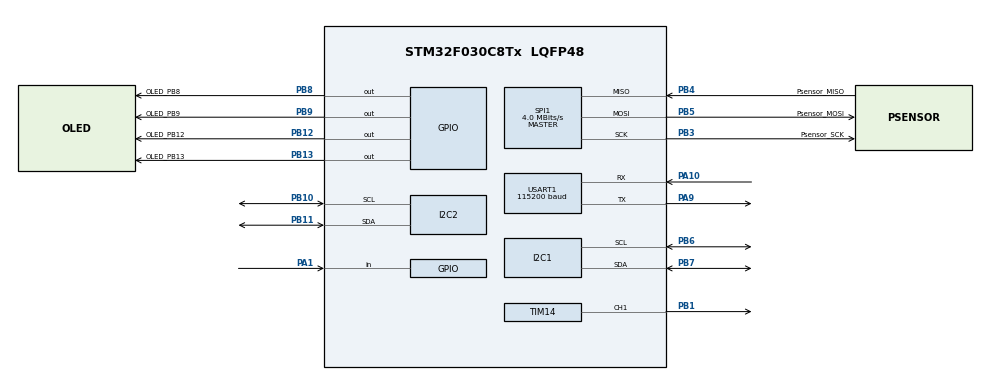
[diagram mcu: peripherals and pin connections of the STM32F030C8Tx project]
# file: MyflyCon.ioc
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Mcu.Family=STM32F0
Mcu.Name=STM32F030C8Tx
Mcu.Package=LQFP48
NVIC.I2C2_IRQn=true\:0\:0\:false\:false\:true\:true\:true
NVIC.SPI1_IRQn=true\:0\:0\:false\:false\:true\:true\:true
PA1.Signal=GPIO_Input
PA10.Mode=Asynchronous
PA10.Signal=USART1_RX
PA15.Signal=SPI1_NSS
PA9.Mode=Asynchronous
PA9.Signal=USART1_TX
PB1.GPIO_PuPd=GPIO_PULLUP
PB1.Signal=S_TIM14_CH1
PB10.Mode=I2C
PB10.Signal=I2C2_SCL
PB11.Mode=I2C
PB11.Signal=I2C2_SDA
PB12.GPIO_Label=OLED_PB12
PB12.Signal=GPIO_Output
PB13.GPIO_Label=OLED_PB13
PB13.Signal=GPIO_Output
PB3.GPIO_Label=Psensor_SCK
PB3.Mode=Full_Duplex_Master
PB3.Signal=SPI1_SCK
PB4.GPIO_Label=Psensor_MISO
PB4.Mode=Full_Duplex_Master
PB4.Signal=SPI1_MISO
PB5.GPIO_Label=Psensor_MOSI
PB5.Mode=Full_Duplex_Master
PB5.Signal=SPI1_MOSI
PB6.Mode=I2C
PB6.Signal=I2C1_SCL
PB7.Mode=I2C
PB7.Signal=I2C1_SDA
PB8.GPIO_Label=OLED_PB8
PB8.Signal=GPIO_Output
PB9.GPIO_Label=OLED_PB9
PB9.Signal=GPIO_Output
ProjectManager.HeapSize=0x200
ProjectManager.StackSize=0x400
ProjectManager.TargetToolchain=MDK-ARM V5.27
RCC.AHBFreq_Value=8000000
RCC.APB1Freq_Value=8000000
RCC.APB1TimFreq_Value=8000000
RCC.HCLKFreq_Value=8000000
SH.S_TIM14_CH1.0=TIM14_CH1,PWM Generation1 CH1
SPI1.CalculateBaudRate=4.0 MBits/s
SPI1.Direction=SPI_DIRECTION_2LINES
SPI1.Mode=SPI_MODE_MASTER
SPI1.VirtualType=VM_MASTER
TIM14.Channel=TIM_CHANNEL_1
TIM14.OCMode_PWM=TIM_OCMODE_PWM2
TIM14.Period=5000
TIM14.Prescaler=8
USART1.BaudRate=115200
USART1.VirtualMode-Asynchronous=VM_ASYNC
VP_TIM14_VS_ClockSourceINT.Mode=Enable_Timer
board=custom

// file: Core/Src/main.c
/* USER CODE BEGIN Header */
/**
 ******************************************************************************
 * @file           : main.c
 * @brief          : Main program body
 ******************************************************************************
 * @attention
 *
 * <h2><center>&copy; Copyright (c) 2023 STMicroelectronics.
 * All rights reserved.</center></h2>
 *
 * This software component is licensed by ST under BSD 3-Clause license,
 * the "License"; You may not use this file except in compliance with the
 * License. You may obtain a copy of the License at:
 *                        opensource.org/licenses/BSD-3-Clause
 *
 ******************************************************************************
 */
/* USER CODE END Header */
#include "main.h"
#include "i2c.h"
#include "spi.h"
#include "tim.h"
#include "usart.h"
#include "gpio.h"

/* USER CODE BEGIN Includes */
#include "stdio.h"
#include "stdint.h"
#include "led.h"
#include "oled.h"
#include "mpu6050.h"
#include "my_delay.h"
#include "inv_mpu.h"
#include "inv_mpu_dmp_motion_driver.h"
#include "imu_view.h"
#include "motor.h"
#include "control.h"
#include "mpu6050.h"
#include "bmp280.h"
/* USER CODE END Includes */

void SystemClock_Config(void);

/* USER CODE BEGIN 0 */
extern UART_HandleTypeDef huart1;
#ifdef __GNUC__
#define PUTCHAR_PROTOTYPE int __io_putchar(int ch)
#else
#define PUTCHAR_PROTOTYPE int fputc(int ch, FILE *f)
#endif

PUTCHAR_PROTOTYPE
{
    HAL_UART_Transmit(&huart1, (uint8_t *)&ch, 1, HAL_MAX_DELAY);
    return ch;
}
/* USER CODE END 0 */

int main(void)
{
    /* USER CODE BEGIN 1 */
    float pitch, roll, yaw;
    short aacx, aacy, aacz;
    short gyrox, gyroy, gyroz;
    // short temp;
    struct bmp280_config conf;
    struct bmp280_uncomp_data ucomp_data;
    int32_t temp32;
    uint32_t pres32, pres64;
    double temp;
    double pres;
    int8_t rslt;
    /* USER CODE END 1 */

    /* MCU Configuration--------------------------------------------------------*/

    /* Reset of all peripherals, Initializes the Flash interface and the Systick. */
    HAL_Init();

    /* Configure the system clock */
    SystemClock_Config();

    /* Initialize all configured peripherals */
    MX_GPIO_Init();
    MX_I2C2_Init();
    MX_SPI1_Init();
    MX_USART1_UART_Init();
    MX_TIM14_Init();
    MX_I2C1_Init();
    /* USER CODE BEGIN 2 */
    OLED_Init();
    OLED_Display_On();
    OLED_Clear();
    HAL_TIM_PWM_Start(&htim14, TIM_CHANNEL_1);
    __HAL_TIM_SET_COMPARE(&htim14, TIM_CHANNEL_1, 1950);
    while (MPU_Init())
    {
    }
    printf("%s\r\n", "MPU_Init");
    while (mpu_dmp_init())
    {
        delay_ms(200);
        printf("%s\r\n", "Mpu6050 Init Wrong!");
    }
    printf("%s\r\n", "Mpu6050 Init OK!");

    rslt = bmp280_init();
    printf("bmp280_init status %d\r\n", rslt);

    /* Always read the current settings before writing, especially when
     * all the configuration is not modified
     */
    rslt = bmp280_get_config(&conf);
    printf("bmp280_get_config status %d\r\n", rslt);

    /* configuring the temperature oversampling, filter coefficient and output data rate */
    /* Overwrite the desired settings */
    conf.filter = BMP280_FILTER_COEFF_2;

    /* Temperature oversampling set at 4x */
    conf.os_temp = BMP280_OS_4X;

    /* Pressure over sampling none (disabling pressure measurement) */
    conf.os_pres = BMP280_OS_NONE;

    /* Setting the output data rate as 1HZ(1000ms) */
    conf.odr = BMP280_ODR_1000_MS;
    rslt = bmp280_set_config(&conf);
    printf("bmp280_set_config status %d\r\n", rslt);

    /* Always set the power mode after setting the configuration */
    rslt = bmp280_set_power_mode(BMP280_NORMAL_MODE);
    printf("bmp280_set_power_mode status %d\r\n", rslt);
    /* USER CODE END 2 */

    /* Infinite loop */
    while (1)
    {

        /* USER CODE BEGIN 3 */
        // rslt = bmp280_get_uncomp_data(&ucomp_data);
        // rslt = bmp280_get_comp_temp_double(&temp, ucomp_data.uncomp_temp);
        // rslt = bmp280_get_comp_pres_double(&pres, ucomp_data.uncomp_press);
        // printf("T32: %f, P32 %lf, %d\r\n", temp, pres, rslt);
        if (mpu_dmp_get_data(&pitch, &roll, &yaw) == 0)
        {
            temp = MPU_Get_Temperature();
            float tempf = temp / 100;
            MPU_Get_Accelerometer(&aacx, &aacy, &aacz);
            MPU_Get_Gyroscope(&gyrox, &gyroy, &gyroz);
            //MapPitchToContorl(pitch);
            Controlling(pitch, roll);
            // OLED_ShowImu(pitch, roll, yaw);
            //  Test_Send_User1(aacx, aacy, aacz, gyrox, gyroy, gyroz, roll, pitch, yaw);
            Vofa_view(roll, pitch, yaw);
            // delay_ms(10);
        }
        delay_ms(10);
        // LedBlink();
    }
    /* USER CODE END 3 */
}

void SystemClock_Config(void)
{
    RCC_OscInitTypeDef RCC_OscInitStruct = {0};
    RCC_ClkInitTypeDef RCC_ClkInitStruct = {0};
    RCC_PeriphCLKInitTypeDef PeriphClkInit = {0};

    /** Initializes the RCC Oscillators according to the specified parameters
     * in the RCC_OscInitTypeDef structure.
     */
    RCC_OscInitStruct.OscillatorType = RCC_OSCILLATORTYPE_HSI;
    RCC_OscInitStruct.HSIState = RCC_HSI_ON;
    RCC_OscInitStruct.HSICalibrationValue = RCC_HSICALIBRATION_DEFAULT;
    RCC_OscInitStruct.PLL.PLLState = RCC_PLL_NONE;
    if (HAL_RCC_OscConfig(&RCC_OscInitStruct) != HAL_OK)
    {
        Error_Handler();
    }
    /** Initializes the CPU, AHB and APB buses clocks
     */
    RCC_ClkInitStruct.ClockType = RCC_CLOCKTYPE_HCLK | RCC_CLOCKTYPE_SYSCLK | RCC_CLOCKTYPE_PCLK1;
    RCC_ClkInitStruct.SYSCLKSource = RCC_SYSCLKSOURCE_HSI;
    RCC_ClkInitStruct.AHBCLKDivider = RCC_SYSCLK_DIV1;
    RCC_ClkInitStruct.APB1CLKDivider = RCC_HCLK_DIV1;

    if (HAL_RCC_ClockConfig(&RCC_ClkInitStruct, FLASH_LATENCY_0) != HAL_OK)
    {
        Error_Handler();
    }
    PeriphClkInit.PeriphClockSelection = RCC_PERIPHCLK_USART1 | RCC_PERIPHCLK_I2C1;
    PeriphClkInit.Usart1ClockSelection = RCC_USART1CLKSOURCE_PCLK1;
    PeriphClkInit.I2c1ClockSelection = RCC_I2C1CLKSOURCE_HSI;
    if (HAL_RCCEx_PeriphCLKConfig(&PeriphClkInit) != HAL_OK)
    {
        Error_Handler();
    }
}

void Error_Handler(void)
{
    __disable_irq();
    while (1)
    {
    }
}

/************************ (C) COPYRIGHT STMicroelectronics *****END OF FILE****/
